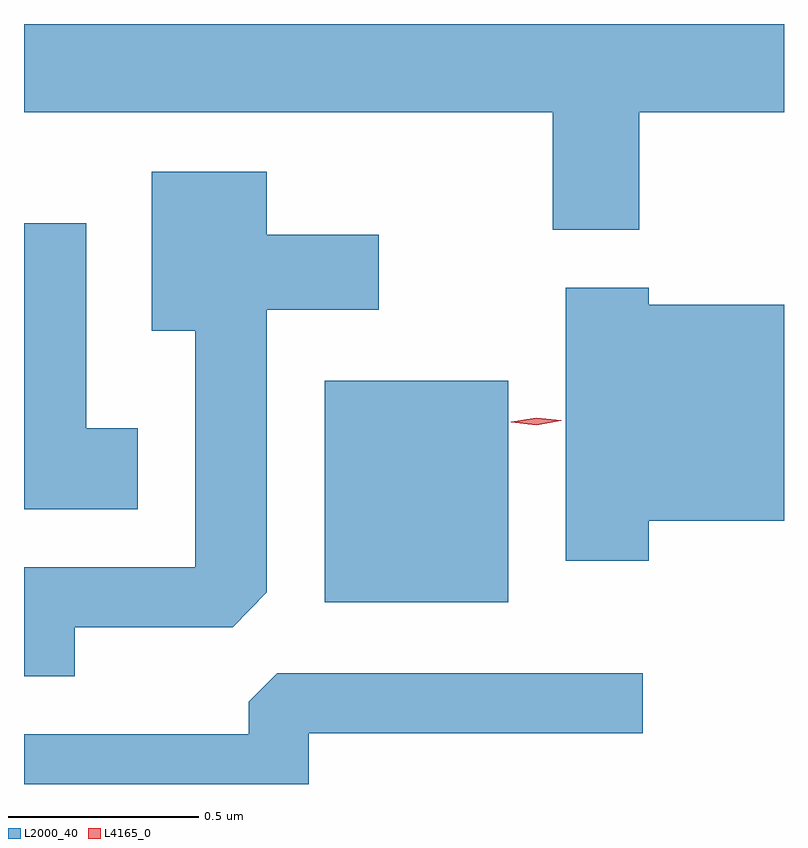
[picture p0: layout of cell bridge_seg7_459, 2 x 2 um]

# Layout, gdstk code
import gdstk
lib = gdstk.Library(unit=1e-6, precision=1e-09)
def R(c, l, rs):  # rectangles x0, y0, x1, y1
    for r in rs: c.add(gdstk.rectangle(r[:2], r[2:], *l))
def P(c, l, *ps):  # polygons
    for p in ps: c.add(gdstk.Polygon(p, *l))
L2000_40 = (2000, 40)
L4165_0 = (4165, 0)

bridge_seg7_459 = lib.new_cell('bridge_seg7_459')
R(bridge_seg7_459, L2000_40, [(1202.171,1708.586,1202.654,1709.169)])
P(bridge_seg7_459, L2000_40, [(1201.38,1709.876),(1202.771,1709.876),(1202.771,1709.566),(1202.999,1709.566),(1202.999,1709.876),(1203.38,1709.876),(1203.38,1710.108),(1201.38,1710.108)],
  [(1201.514,1708.521),(1201.929,1708.521),(1202.019,1708.612),(1202.019,1709.356),(1202.314,1709.356),(1202.314,1709.554),(1202.019,1709.554),(1202.019,1709.719),(1201.716,1709.719),(1201.716,1709.301),(1201.831,1709.301),(1201.831,1708.679),(1201.38,1708.679),(1201.38,1708.391),(1201.514,1708.391)],
  [(1201.679,1709.044),(1201.544,1709.044),(1201.544,1709.584),(1201.38,1709.584),(1201.38,1708.831),(1201.679,1708.831)],
  [(1203.024,1708.801),(1203.38,1708.801),(1203.38,1709.369),(1203.024,1709.369),(1203.024,1709.414),(1202.806,1709.414),(1202.806,1708.696),(1203.024,1708.696)],
  [(1202.129,1708.241),(1203.008,1708.241),(1203.008,1708.399),(1202.047,1708.399),(1201.971,1708.324),(1201.971,1708.239),(1201.38,1708.239),(1201.38,1708.108),(1202.129,1708.108)])
P(bridge_seg7_459, L4165_0, [(1202.728,1709.052),(1202.662,1709.06),(1202.661,1709.061),(1202.662,1709.061),(1202.728,1709.072),(1202.794,1709.065),(1202.794,1709.064),(1202.794,1709.064)])

lib.write_gds('bridge_seg7_459.gds')
